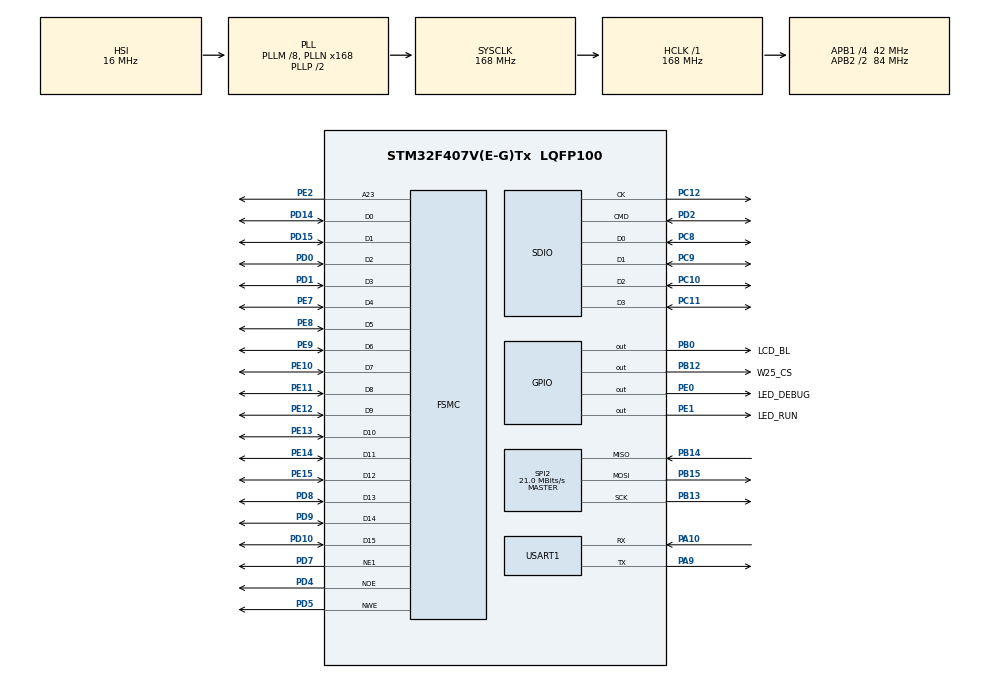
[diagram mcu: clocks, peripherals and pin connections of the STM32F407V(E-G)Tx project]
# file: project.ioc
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FSMC.AddressSetupTime1=3
FSMC.BusTurnAroundDuration1=0
FSMC.DataSetupTime1=12
FSMC.ExtendedAddressSetupTime1=4
FSMC.ExtendedBusTurnAroundDuration1=0
FSMC.ExtendedDataSetupTime1=12
FSMC.ExtendedMode1=FSMC_EXTENDED_MODE_ENABLE
Mcu.Family=STM32F4
Mcu.Name=STM32F407V(E-G)Tx
Mcu.Package=LQFP100
NVIC.PriorityGroup=NVIC_PRIORITYGROUP_4
NVIC.SDIO_IRQn=true\:0\:0\:false\:false\:true\:true\:true\:true
NVIC.USART1_IRQn=true\:0\:0\:false\:false\:true\:true\:true\:true
PA10.Mode=Asynchronous
PA10.Signal=USART1_RX
PA13.Mode=Serial_Wire
PA13.Signal=SYS_JTMS-SWDIO
PA14.Mode=Serial_Wire
PA14.Signal=SYS_JTCK-SWCLK
PA9.Mode=Asynchronous
PA9.Signal=USART1_TX
PB0.GPIO_Label=LCD_BL
PB0.GPIO_ModeDefaultOutputPP=GPIO_MODE_OUTPUT_PP
PB0.GPIO_Speed=GPIO_SPEED_FREQ_HIGH
PB0.PinState=GPIO_PIN_SET
PB0.Signal=GPIO_Output
PB12.GPIO_Label=W25_CS
PB12.GPIO_Speed=GPIO_SPEED_FREQ_VERY_HIGH
PB12.Signal=GPIO_Output
PB13.Mode=Full_Duplex_Master
PB13.Signal=SPI2_SCK
PB14.Mode=Full_Duplex_Master
PB14.Signal=SPI2_MISO
PB15.Mode=Full_Duplex_Master
PB15.Signal=SPI2_MOSI
PC10.Mode=SD_4_bits_Wide_bus
PC10.Signal=SDIO_D2
PC11.Mode=SD_4_bits_Wide_bus
PC11.Signal=SDIO_D3
PC12.Mode=SD_4_bits_Wide_bus
PC12.Signal=SDIO_CK
PC8.Mode=SD_4_bits_Wide_bus
PC8.Signal=SDIO_D0
PC9.Mode=SD_4_bits_Wide_bus
PC9.Signal=SDIO_D1
PD0.Mode=16b-d1
PD0.Signal=FSMC_D2
PD1.Mode=16b-d1
PD1.Signal=FSMC_D3
PD10.Mode=16b-d1
PD10.Signal=FSMC_D15
PD14.Mode=16b-d1
PD14.Signal=FSMC_D0
PD15.Mode=16b-d1
PD15.Signal=FSMC_D1
PD2.Mode=SD_4_bits_Wide_bus
PD2.Signal=SDIO_CMD
PD4.Mode=Lcd1
PD4.Signal=FSMC_NOE
PD5.Mode=Lcd1
PD5.Signal=FSMC_NWE
PD7.Mode=NorPsramChipSelect1_1
PD7.Signal=FSMC_NE1
PD8.Mode=16b-d1
PD8.Signal=FSMC_D13
PD9.Mode=16b-d1
PD9.Signal=FSMC_D14
PE0.GPIO_Label=LED_DEBUG
PE0.GPIO_ModeDefaultOutputPP=GPIO_MODE_OUTPUT_PP
PE0.GPIO_PuPd=GPIO_NOPULL
PE0.GPIO_Speed=GPIO_SPEED_FREQ_HIGH
PE0.PinState=GPIO_PIN_RESET
PE0.Signal=GPIO_Output
PE1.GPIO_Label=LED_RUN
PE1.GPIO_Speed=GPIO_SPEED_FREQ_HIGH
PE1.Signal=GPIO_Output
PE10.Mode=16b-d1
PE10.Signal=FSMC_D7
PE11.Mode=16b-d1
PE11.Signal=FSMC_D8
PE12.Mode=16b-d1
PE12.Signal=FSMC_D9
PE13.Mode=16b-d1
PE13.Signal=FSMC_D10
PE14.Mode=16b-d1
PE14.Signal=FSMC_D11
PE15.Mode=16b-d1
PE15.Signal=FSMC_D12
PE2.Mode=A23_1
PE2.Signal=FSMC_A23
PE7.Mode=16b-d1
PE7.Signal=FSMC_D4
PE8.Mode=16b-d1
PE8.Signal=FSMC_D5
PE9.Mode=16b-d1
PE9.Signal=FSMC_D6
PH0-OSC_IN.Mode=HSE-External-Oscillator
PH0-OSC_IN.Signal=RCC_OSC_IN
PH1-OSC_OUT.Mode=HSE-External-Oscillator
PH1-OSC_OUT.Signal=RCC_OSC_OUT
ProjectManager.HeapSize=0x200
ProjectManager.StackSize=0x400
ProjectManager.TargetToolchain=MDK-ARM V5.32
RCC.48MHZClocksFreq_Value=84000000
RCC.AHBFreq_Value=168000000
RCC.APB1CLKDivider=RCC_HCLK_DIV4
RCC.APB1Freq_Value=42000000
RCC.APB1TimFreq_Value=84000000
RCC.APB2CLKDivider=RCC_HCLK_DIV2
RCC.APB2Freq_Value=84000000
RCC.APB2TimFreq_Value=168000000
RCC.CortexFreq_Value=168000000
RCC.HCLKFreq_Value=168000000
RCC.HSE_VALUE=25000000
RCC.HSI_VALUE=16000000
RCC.LSE_VALUE=32768
RCC.PLLM=8
RCC.PLLN=168
RCC.SYSCLKFreq_VALUE=168000000
RCC.SYSCLKSource=RCC_SYSCLKSOURCE_PLLCLK
RCC.VCOOutputFreq_Value=336000000
SDIO.ClockDiv=34
SPI2.CalculateBaudRate=21.0 MBits/s
SPI2.Direction=SPI_DIRECTION_2LINES
SPI2.Mode=SPI_MODE_MASTER
SPI2.VirtualType=VM_MASTER
USART1.VirtualMode=VM_ASYNC
board=custom

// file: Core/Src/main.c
/* USER CODE BEGIN Header */
/**
  ******************************************************************************
  * @file           : main.c
  * @brief          : Main program body
  ******************************************************************************
  * @attention
  *
  * Copyright (c) 2024 STMicroelectronics.
  * All rights reserved.
  *
  * This software is licensed under terms that can be found in the LICENSE file
  * in the root directory of this software component.
  * If no LICENSE file comes with this software, it is provided AS-IS.
  *
  ******************************************************************************
  */
/* USER CODE END Header */
#include "main.h"
#include "sdio.h"
#include "spi.h"
#include "usart.h"
#include "gpio.h"
#include "fsmc.h"

/* USER CODE BEGIN PTD */
const unsigned char  test_24x24_ches[] =
{
0x00,0x00,0x00,0x00,0x00,0x30,0x00,0x38,0x30,0x00,0x30,0x60,0x00,0x30,0x60,0x00,0x7F,0xFF,0x00,0x60,0x01,0x00,0xC0,0x0C,0x00,0xE7,0x1C,0x00,0xC6,0x38,0x07,0xFF,0xFF,0x01,0x8E,0x61,0x01,0x8C,0xFB,0x01,0x8D,0xB8,0x03,0xFF,0x30,0x03,0x18,0x78,0x03,0x18,0xF8,0x06,0x38,0xD8,0x06,0x31,0x98,0x07,0xF3,0x1C,0x0C,0x7E,0x1E,0x0C,0x78,0x0F,0x00,0x70,0x00,0x00,0x00,0x00,/*"嵌",0*/
0x00,0x00,0x00,0x00,0x00,0x00,0x00,0x07,0x00,0x00,0x03,0xC0,0x00,0x00,0xC0,0x00,0x00,0xE0,0x00,0x00,0xE0,0x00,0x01,0xE0,0x00,0x01,0xE0,0x00,0x03,0xE0,0x00,0x07,0xE0,0x00,0x06,0xE0,0x00,0x0C,0xE0,0x00,0x1C,0xE0,0x00,0x38,0x60,0x00,0x70,0x70,0x00,0xE0,0x70,0x01,0xC0,0x78,0x03,0x00,0x38,0x06,0x00,0x3C,0x1C,0x00,0x1F,0x30,0x00,0x0C,0xE0,0x00,0x00,0x00,0x00,0x00,/*"入",1*/
0x00,0x00,0x00,0x00,0x00,0x0C,0x00,0x00,0x1D,0x00,0x00,0x18,0x00,0x00,0x18,0x00,0x00,0x38,0x01,0xFF,0xFF,0x00,0x00,0x30,0x00,0x00,0x30,0x00,0x00,0x70,0x00,0x03,0x70,0x03,0xFF,0xE0,0x00,0x30,0x60,0x00,0x70,0x60,0x00,0x60,0x60,0x00,0x60,0x60,0x00,0xE0,0x61,0x00,0xC0,0x63,0x00,0xFE,0x73,0x03,0xE0,0x7B,0x3E,0x00,0x3E,0x30,0x00,0x1E,0x00,0x00,0x0E,0x00,0x00,0x00,/*"式",2*/
};
/* USER CODE END PTD */

void SystemClock_Config(void);

int main(void)
{

  /* MCU Configuration--------------------------------------------------------*/

  /* Reset of all peripherals, Initializes the Flash interface and the Systick. */
  HAL_Init();

  /* Configure the system clock */
  SystemClock_Config();

  /* Initialize all configured peripherals */
  MX_GPIO_Init();
  MX_FSMC_Init();
  MX_USART1_UART_Init();
  MX_SDIO_SD_Init();
  MX_SPI2_Init();
  /* USER CODE BEGIN 2 */

	LCD_Init();
		LCD_printf(20,20 ,16, "LCD Init ok");

	if(hsd.ErrorCode == SDMMC_ERROR_NONE)
	{
		LCD_printf(20,40 ,16, "SD Card Init OK");
		LCD_printf(20,60 ,16, "SD Card is %.1f M", (float)hsd.SdCard.BlockNbr * hsd.SdCard.BlockSize / 1000 / 1000 );
	}
	else
	{
		LCD_printf(20,60 ,16,"SD Card file %d\r\n",hsd.ErrorCode);
	}

	W25QXX_Init();
	LCD_printf(20,80 ,16, "W25Q128 Init OK, ID is:0x%X",W25QXX_ReadID());

	LCD_printf(20,100,16, "236545");
  /* USER CODE END 2 */

  /* Infinite loop */
  /* USER CODE BEGIN WHILE */
  while (1)
  {
		HAL_GPIO_WritePin(LED_DEBUG_GPIO_Port,LED_DEBUG_Pin,GPIO_PIN_RESET);
		HAL_Delay(500);
		HAL_GPIO_WritePin(LED_DEBUG_GPIO_Port,LED_DEBUG_Pin,GPIO_PIN_SET);
		HAL_Delay(500);
		HAL_GPIO_WritePin(LED_RUN_GPIO_Port,LED_RUN_Pin,GPIO_PIN_RESET);
		HAL_Delay(500);
		HAL_GPIO_WritePin(LED_RUN_GPIO_Port,LED_RUN_Pin,GPIO_PIN_SET);
		HAL_Delay(500);

    /* USER CODE END WHILE */

  }
}

void SystemClock_Config(void)
{
  RCC_OscInitTypeDef RCC_OscInitStruct = {0};
  RCC_ClkInitTypeDef RCC_ClkInitStruct = {0};

  /** Configure the main internal regulator output voltage
  */
  __HAL_RCC_PWR_CLK_ENABLE();
  __HAL_PWR_VOLTAGESCALING_CONFIG(PWR_REGULATOR_VOLTAGE_SCALE1);

  /** Initializes the RCC Oscillators according to the specified parameters
  * in the RCC_OscInitTypeDef structure.
  */
  RCC_OscInitStruct.OscillatorType = RCC_OSCILLATORTYPE_HSI;
  RCC_OscInitStruct.HSIState = RCC_HSI_ON;
  RCC_OscInitStruct.HSICalibrationValue = RCC_HSICALIBRATION_DEFAULT;
  RCC_OscInitStruct.PLL.PLLState = RCC_PLL_ON;
  RCC_OscInitStruct.PLL.PLLSource = RCC_PLLSOURCE_HSI;
  RCC_OscInitStruct.PLL.PLLM = 8;
  RCC_OscInitStruct.PLL.PLLN = 168;
  RCC_OscInitStruct.PLL.PLLP = RCC_PLLP_DIV2;
  RCC_OscInitStruct.PLL.PLLQ = 4;
  if (HAL_RCC_OscConfig(&RCC_OscInitStruct) != HAL_OK)
  {
    Error_Handler();
  }

  /** Initializes the CPU, AHB and APB buses clocks
  */
  RCC_ClkInitStruct.ClockType = RCC_CLOCKTYPE_HCLK|RCC_CLOCKTYPE_SYSCLK
                              |RCC_CLOCKTYPE_PCLK1|RCC_CLOCKTYPE_PCLK2;
  RCC_ClkInitStruct.SYSCLKSource = RCC_SYSCLKSOURCE_PLLCLK;
  RCC_ClkInitStruct.AHBCLKDivider = RCC_SYSCLK_DIV1;
  RCC_ClkInitStruct.APB1CLKDivider = RCC_HCLK_DIV4;
  RCC_ClkInitStruct.APB2CLKDivider = RCC_HCLK_DIV2;

  if (HAL_RCC_ClockConfig(&RCC_ClkInitStruct, FLASH_LATENCY_5) != HAL_OK)
  {
    Error_Handler();
  }
}

void Error_Handler(void)
{
  __disable_irq();
  while (1)
  {
  }
}
